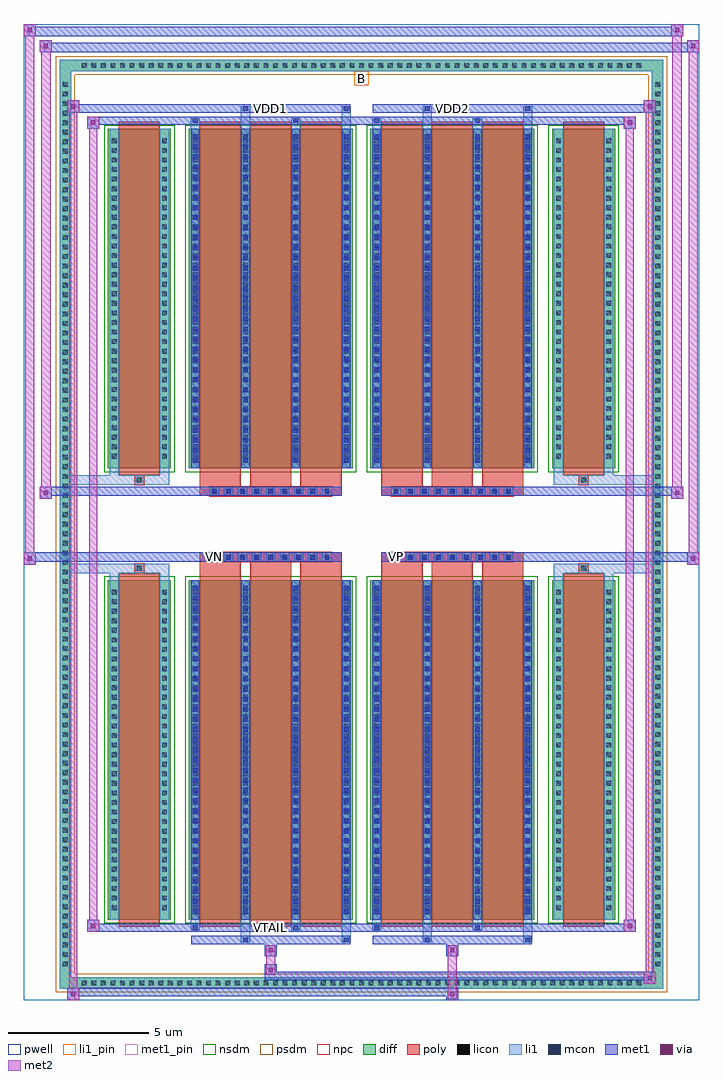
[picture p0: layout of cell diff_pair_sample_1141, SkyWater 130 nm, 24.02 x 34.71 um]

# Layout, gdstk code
import gdstk
lib = gdstk.Library(unit=1e-6, precision=5e-09)
def R(c, l, rs):  # rectangles x0, y0, x1, y1
    for r in rs: c.add(gdstk.rectangle(r[:2], r[2:], *l))
def A(c, l, x, y, w, h, nx, ny, dx, dy):  # array of equal rectangles
    R(c, l, [(x+i*dx, y+j*dy, x+i*dx+w, y+j*dy+h) for i in range(nx) for j in range(ny)])
def P(c, l, *ps):  # polygons
    for p in ps: c.add(gdstk.Polygon(p, *l))
pwell = (64, 44)
diff = (65, 20)
poly = (66, 20)
licon = (66, 44)
li1_pin = (67, 16)
li1 = (67, 20)
mcon = (67, 44)
met1_pin = (68, 16)
met1 = (68, 20)
via = (68, 44)
met2 = (69, 20)
nsdm = (93, 44)
psdm = (94, 20)
npc = (95, 20)

diff_pair_sample_1141 = lib.new_cell('diff_pair_sample_1141')
R(diff_pair_sample_1141, pwell, [(-12.01,-16.92,12.01,17.79), (-9.33,-15.11,-0.01,-0.805), (0.01,-15.11,9.33,-0.805), (-9.33,0.805,-0.01,15.11), (0.01,0.805,9.33,15.11)])
A(diff_pair_sample_1141, diff, -10.065, -16.52, 0.41, 0.41, 59, 2, 0.34, 32.63)
A(diff_pair_sample_1141, diff, -10.74, -15.845, 0.41, 0.41, 1, 93, 0, 0.34)
A(diff_pair_sample_1141, diff, 10.33, -15.845, 0.41, 0.41, 1, 93, 0, 0.34)
R(diff_pair_sample_1141, diff, [(-10.065,-16.52,10.065,-16.11), (-10.74,-15.845,-10.33,15.845), (10.33,-15.845,10.74,15.845), (-9.02,-14.065,-6.78,-1.985), (-6.14,-14.065,-0.32,-1.985), (0.32,-14.065,6.14,-1.985), (6.78,-14.065,9.02,-1.985), (-9.02,1.985,-6.78,14.065), (-6.14,1.985,-0.32,14.065), (0.32,1.985,6.14,14.065), (6.78,1.985,9.02,14.065), (-10.065,16.11,10.065,16.52)])
P(diff_pair_sample_1141, diff, [(10.74,16.52),(-10.74,16.52),(-10.74,-16.11),(-10.33,-16.11),(-10.33,16.11),(10.33,16.11),(10.33,-16.11),(-10.33,-16.11),(-10.74,-16.11),(-10.74,-16.52),(10.74,-16.52)])
A(diff_pair_sample_1141, poly, -5.75, -14.315, 1.46, 12.58, 3, 2, 1.79, 16.05)
A(diff_pair_sample_1141, poly, 0.71, -14.315, 1.46, 12.58, 3, 2, 1.79, 16.05)
A(diff_pair_sample_1141, poly, -5.75, -1.735, 1.46, 0.4, 3, 2, 1.79, 3.07)
A(diff_pair_sample_1141, poly, 0.71, -1.735, 1.46, 0.4, 3, 2, 1.79, 3.07)
A(diff_pair_sample_1141, poly, -5.395, -1.335, 0.33, 0.33, 9, 2, 0.5, 2.34)
A(diff_pair_sample_1141, poly, 1.065, -1.335, 0.33, 0.33, 9, 2, 0.5, 2.34)
R(diff_pair_sample_1141, poly, [(-8.63,-14.315,-7.17,-1.735), (7.17,-14.315,8.63,-1.735), (-8.065,-1.735,-7.735,-1.405), (-8.065,-1.735,-7.735,-1.405), (7.735,-1.735,8.065,-1.405), (7.735,-1.735,8.065,-1.405), (-5.75,-1.335,-0.71,-1.005), (0.71,-1.335,5.75,-1.005), (-5.75,1.005,-0.71,1.335), (0.71,1.005,5.75,1.335), (-8.065,1.405,-7.735,1.735), (-8.065,1.405,-7.735,1.735), (7.735,1.405,8.065,1.735), (7.735,1.405,8.065,1.735), (-8.63,1.735,-7.17,14.315), (7.17,1.735,8.63,14.315)])
A(diff_pair_sample_1141, licon, -9.945, -16.4, 0.17, 0.17, 59, 2, 0.34, 32.63)
A(diff_pair_sample_1141, licon, -10.62, -15.725, 0.17, 0.17, 1, 93, 0, 0.34)
A(diff_pair_sample_1141, licon, 10.45, -15.725, 0.17, 0.17, 1, 93, 0, 0.34)
A(diff_pair_sample_1141, licon, -8.88, -13.72, 0.17, 0.17, 1, 34, 0, 0.34)
A(diff_pair_sample_1141, licon, -7.09, -13.72, 0.17, 0.17, 1, 34, 0, 0.34)
A(diff_pair_sample_1141, licon, -6, -13.72, 0.17, 0.17, 4, 34, 1.79, 0.34)
A(diff_pair_sample_1141, licon, 0.46, -13.72, 0.17, 0.17, 4, 34, 1.79, 0.34)
A(diff_pair_sample_1141, licon, 6.92, -13.72, 0.17, 0.17, 1, 34, 0, 0.34)
A(diff_pair_sample_1141, licon, 8.71, -13.72, 0.17, 0.17, 1, 34, 0, 0.34)
A(diff_pair_sample_1141, licon, -5.315, -1.255, 0.17, 0.17, 9, 2, 0.5, 2.34)
A(diff_pair_sample_1141, licon, 1.145, -1.255, 0.17, 0.17, 9, 2, 0.5, 2.34)
A(diff_pair_sample_1141, licon, -8.88, 2.33, 0.17, 0.17, 1, 34, 0, 0.34)
A(diff_pair_sample_1141, licon, -7.09, 2.33, 0.17, 0.17, 1, 34, 0, 0.34)
A(diff_pair_sample_1141, licon, -6, 2.33, 0.17, 0.17, 4, 34, 1.79, 0.34)
A(diff_pair_sample_1141, licon, 0.46, 2.33, 0.17, 0.17, 4, 34, 1.79, 0.34)
A(diff_pair_sample_1141, licon, 6.92, 2.33, 0.17, 0.17, 1, 34, 0, 0.34)
A(diff_pair_sample_1141, licon, 8.71, 2.33, 0.17, 0.17, 1, 34, 0, 0.34)
R(diff_pair_sample_1141, licon, [(-7.985,-1.655,-7.815,-1.485), (7.815,-1.655,7.985,-1.485), (-7.985,1.485,-7.815,1.655), (7.815,1.485,7.985,1.655)])
R(diff_pair_sample_1141, li1_pin, [(-0.25,15.61,0.25,16.11)])
A(diff_pair_sample_1141, li1, -10.025, -16.48, 0.33, 0.33, 59, 2, 0.34, 32.63)
A(diff_pair_sample_1141, li1, -10.7, -15.805, 0.33, 0.33, 1, 93, 0, 0.34)
A(diff_pair_sample_1141, li1, 10.37, -15.805, 0.33, 0.33, 1, 93, 0, 0.34)
A(diff_pair_sample_1141, li1, -6.08, -14.065, 0.33, 12.08, 4, 2, 1.79, 16.05)
A(diff_pair_sample_1141, li1, 0.38, -14.065, 0.33, 12.08, 4, 2, 1.79, 16.05)
A(diff_pair_sample_1141, li1, -6, -13.87, 0.17, 0.17, 4, 33, 1.79, 0.36)
A(diff_pair_sample_1141, li1, -6, -13.87, 0.17, 11.69, 4, 2, 1.79, 16.05)
A(diff_pair_sample_1141, li1, 0.46, -13.87, 0.17, 0.17, 4, 33, 1.79, 0.36)
A(diff_pair_sample_1141, li1, 0.46, -13.87, 0.17, 11.69, 4, 2, 1.79, 16.05)
A(diff_pair_sample_1141, li1, -8.96, -13.8, 0.33, 0.33, 1, 34, 0, 0.34)
A(diff_pair_sample_1141, li1, -7.17, -13.8, 0.33, 0.33, 1, 34, 0, 0.34)
A(diff_pair_sample_1141, li1, -6.08, -13.8, 0.33, 0.33, 4, 34, 1.79, 0.34)
A(diff_pair_sample_1141, li1, 0.38, -13.8, 0.33, 0.33, 4, 34, 1.79, 0.34)
A(diff_pair_sample_1141, li1, 6.84, -13.8, 0.33, 0.33, 1, 34, 0, 0.34)
A(diff_pair_sample_1141, li1, 8.63, -13.8, 0.33, 0.33, 1, 34, 0, 0.34)
A(diff_pair_sample_1141, li1, -5.395, -1.335, 0.33, 0.33, 9, 2, 0.5, 2.34)
A(diff_pair_sample_1141, li1, 1.065, -1.335, 0.33, 0.33, 9, 2, 0.5, 2.34)
A(diff_pair_sample_1141, li1, -6, 2.18, 0.17, 0.17, 4, 33, 1.79, 0.36)
A(diff_pair_sample_1141, li1, 0.46, 2.18, 0.17, 0.17, 4, 33, 1.79, 0.36)
A(diff_pair_sample_1141, li1, -8.96, 2.25, 0.33, 0.33, 1, 34, 0, 0.34)
A(diff_pair_sample_1141, li1, -7.17, 2.25, 0.33, 0.33, 1, 34, 0, 0.34)
A(diff_pair_sample_1141, li1, -6.08, 2.25, 0.33, 0.33, 4, 34, 1.79, 0.34)
A(diff_pair_sample_1141, li1, 0.38, 2.25, 0.33, 0.33, 4, 34, 1.79, 0.34)
A(diff_pair_sample_1141, li1, 6.84, 2.25, 0.33, 0.33, 1, 34, 0, 0.34)
A(diff_pair_sample_1141, li1, 8.63, 2.25, 0.33, 0.33, 1, 34, 0, 0.34)
R(diff_pair_sample_1141, li1, [(-10.74,-16.52,-10.33,-16.11), (-10.74,-16.52,-10.33,-16.11), (-10.33,-16.52,10.33,-16.11), (10.33,-16.52,10.74,-16.11), (10.33,-16.52,10.74,-16.11), (-10.74,-16.11,-10.33,16.11), (10.33,-16.11,10.74,16.11), (-4.29,-14.87,-3.96,-14.065), (-4.21,-14.87,-4.04,-14.7), (-0.71,-14.87,-0.38,-14.065), (-0.63,-14.87,-0.46,-14.7), (2.17,-14.87,2.5,-14.065), (2.25,-14.87,2.42,-14.7), (5.75,-14.87,6.08,-14.065), (5.83,-14.87,6,-14.7), (-6.08,-14.44,-5.75,-14.065), (-6,-14.44,-5.83,-14.27), (-2.5,-14.44,-2.17,-14.065), (-2.42,-14.44,-2.25,-14.27), (0.38,-14.44,0.71,-14.065), (0.46,-14.44,0.63,-14.27), (3.96,-14.44,4.29,-14.065), (4.04,-14.44,4.21,-14.27), (-8.96,-14.065,-8.63,-1.985), (-7.17,-14.065,-6.84,-1.985), (6.84,-14.065,7.17,-1.985), (8.63,-14.065,8.96,-1.985), (-8.96,-1.985,-8.63,-1.405), (-7.17,-1.985,-6.84,-1.405), (6.84,-1.985,7.17,-1.405), (8.63,-1.985,8.96,-1.405), (-10.74,-1.735,-8.065,-1.405), (-8.96,-1.735,-8.065,-1.405), (-8.065,-1.735,-7.735,-1.405), (-7.735,-1.735,-6.84,-1.405), (6.84,-1.735,7.735,-1.405), (7.735,-1.735,8.065,-1.405), (7.735,-1.735,10.74,-1.405), (8.065,-1.735,8.96,-1.405), (-10.74,1.405,-8.065,1.735), (-8.96,1.405,-8.065,1.735), (-8.96,1.405,-8.63,1.985), (-8.065,1.405,-7.735,1.735), (-7.735,1.405,-6.84,1.735), (-7.17,1.405,-6.84,1.985), (6.84,1.405,7.735,1.735), (6.84,1.405,7.17,1.985), (7.735,1.405,8.065,1.735), (7.735,1.405,10.74,1.735), (8.065,1.405,8.96,1.735), (8.63,1.405,8.96,1.985), (-8.96,1.985,-8.63,14.065), (-7.17,1.985,-6.84,14.065), (6.84,1.985,7.17,14.065), (8.63,1.985,8.96,14.065), (-6.08,14.065,-5.75,14.44), (-4.29,14.065,-3.96,14.87), (-2.5,14.065,-2.17,14.44), (-0.71,14.065,-0.38,14.87), (0.38,14.065,0.71,14.44), (2.17,14.065,2.5,14.87), (3.96,14.065,4.29,14.44), (5.75,14.065,6.08,14.87), (-6,14.27,-5.83,14.44), (-2.42,14.27,-2.25,14.44), (0.46,14.27,0.63,14.44), (4.04,14.27,4.21,14.44), (-4.21,14.7,-4.04,14.87), (-0.63,14.7,-0.46,14.87), (2.25,14.7,2.42,14.87), (5.83,14.7,6,14.87), (-10.74,16.11,-10.33,16.52), (-10.74,16.11,-10.33,16.52), (-10.33,16.11,10.33,16.52), (10.33,16.11,10.74,16.52), (10.33,16.11,10.74,16.52)])
A(diff_pair_sample_1141, mcon, -6, -13.87, 0.17, 0.17, 4, 33, 1.79, 0.36)
A(diff_pair_sample_1141, mcon, 0.46, -13.87, 0.17, 0.17, 4, 33, 1.79, 0.36)
A(diff_pair_sample_1141, mcon, -5.315, -1.255, 0.17, 0.17, 9, 2, 0.5, 2.34)
A(diff_pair_sample_1141, mcon, 1.145, -1.255, 0.17, 0.17, 9, 2, 0.5, 2.34)
A(diff_pair_sample_1141, mcon, -6, 2.18, 0.17, 0.17, 4, 33, 1.79, 0.36)
A(diff_pair_sample_1141, mcon, 0.46, 2.18, 0.17, 0.17, 4, 33, 1.79, 0.36)
R(diff_pair_sample_1141, mcon, [(-4.21,-14.87,-4.04,-14.7), (-0.63,-14.87,-0.46,-14.7), (2.25,-14.87,2.42,-14.7), (5.83,-14.87,6,-14.7), (-6,-14.44,-5.83,-14.27), (-2.42,-14.44,-2.25,-14.27), (0.46,-14.44,0.63,-14.27), (4.04,-14.44,4.21,-14.27), (-6,14.27,-5.83,14.44), (-2.42,14.27,-2.25,14.44), (0.46,14.27,0.63,14.44), (4.04,14.27,4.21,14.44), (-4.21,14.7,-4.04,14.87), (-0.63,14.7,-0.46,14.87), (2.25,14.7,2.42,14.87), (5.83,14.7,6,14.87)])
R(diff_pair_sample_1141, met1_pin, [(-3.365,-14.48,-3.095,-14.21), (-5.365,-1.295,-5.095,-1.025), (1.095,-1.295,1.365,-1.025), (-3.365,14.66,-3.095,14.93), (3.095,14.66,3.365,14.93)])
A(diff_pair_sample_1141, met1, -6.06, -14.065, 0.29, 12.08, 4, 2, 1.79, 16.05)
A(diff_pair_sample_1141, met1, 0.4, -14.065, 0.29, 12.08, 4, 2, 1.79, 16.05)
A(diff_pair_sample_1141, met1, -6.06, -13.93, 0.29, 0.29, 4, 33, 1.79, 0.36)
A(diff_pair_sample_1141, met1, 0.4, -13.93, 0.29, 0.29, 4, 33, 1.79, 0.36)
A(diff_pair_sample_1141, met1, -5.375, -1.315, 0.29, 0.29, 9, 2, 0.5, 2.34)
A(diff_pair_sample_1141, met1, 1.085, -1.315, 0.29, 0.29, 9, 2, 0.5, 2.34)
A(diff_pair_sample_1141, met1, -6.06, 2.12, 0.29, 0.29, 4, 33, 1.79, 0.36)
A(diff_pair_sample_1141, met1, 0.4, 2.12, 0.29, 0.29, 4, 33, 1.79, 0.36)
R(diff_pair_sample_1141, met1, [(-10.47,-16.92,-10.04,-16.49), (3.015,-16.92,3.445,-16.49), (-10.47,-16.78,3.445,-16.49), (10.04,-16.35,10.47,-15.92), (-3.445,-16.21,10.47,-15.92), (-3.445,-16.07,-3.015,-15.64), (-3.445,-15.36,-3.015,-14.93), (3.015,-15.36,3.445,-14.93), (-6.06,-14.93,-0.4,-14.64), (-4.27,-14.93,-3.98,-14.64), (-0.69,-14.93,-0.4,-14.64), (0.4,-14.93,6.06,-14.64), (2.19,-14.93,2.48,-14.64), (5.77,-14.93,6.06,-14.64), (-9.76,-14.5,-9.33,-14.07), (-9.76,-14.5,-6.06,-14.21), (-6.06,-14.5,-5.77,-14.21), (-6.06,-14.5,-0.4,-14.21), (-2.48,-14.5,-2.19,-14.21), (-0.4,-14.5,0.4,-14.21), (0.4,-14.5,0.69,-14.21), (0.4,-14.5,6.06,-14.21), (3.98,-14.5,4.27,-14.21), (6.06,-14.5,9.76,-14.21), (9.33,-14.5,9.76,-14.07), (-12.01,-1.435,-11.58,-1.005), (11.58,-1.435,12.01,-1.005), (-12.01,-1.335,-0.71,-1.005), (-5.75,-1.335,-0.71,-1.005), (0.71,-1.335,5.75,-1.005), (0.71,-1.335,12.01,-1.005), (-11.44,0.905,-11.01,1.335), (11.01,0.905,11.44,1.335), (-11.44,1.005,-5.75,1.335), (-5.75,1.005,-0.71,1.335), (0.71,1.005,5.75,1.335), (5.75,1.005,11.44,1.335), (-9.76,14.07,-9.33,14.5), (9.33,14.07,9.76,14.5), (-9.76,14.21,-6.06,14.5), (-6.06,14.21,-5.77,14.5), (-6.06,14.21,-0.4,14.5), (-2.48,14.21,-2.19,14.5), (-0.4,14.21,0.4,14.5), (0.4,14.21,0.69,14.5), (0.4,14.21,6.06,14.5), (3.98,14.21,4.27,14.5), (6.06,14.21,9.76,14.5), (-10.47,14.64,-10.04,15.07), (-10.47,14.64,-6.06,14.93), (-6.06,14.64,-0.4,14.93), (-4.27,14.64,-3.98,14.93), (-0.69,14.64,-0.4,14.93), (0.4,14.64,6.06,14.93), (2.19,14.64,2.48,14.93), (5.77,14.64,6.06,14.93), (6.06,14.64,10.47,14.93), (10.04,14.64,10.47,15.07), (-11.44,16.79,-11.01,17.22), (-11.44,16.79,-9.33,17.12), (-9.33,16.79,9.33,17.12), (9.33,16.79,12.01,17.12), (11.58,16.79,12.01,17.22), (-12.01,17.36,-11.58,17.79), (-12.01,17.36,-9.33,17.69), (-9.33,17.36,9.33,17.69), (9.33,17.36,11.44,17.69), (11.01,17.36,11.44,17.79)])
R(diff_pair_sample_1141, via, [(-10.33,-16.78,-10.18,-16.63), (3.155,-16.78,3.305,-16.63), (10.18,-16.21,10.33,-16.06), (-3.305,-15.93,-3.155,-15.78), (-3.305,-15.22,-3.155,-15.07), (3.155,-15.22,3.305,-15.07), (-9.62,-14.36,-9.47,-14.21), (9.47,-14.36,9.62,-14.21), (-11.87,-1.295,-11.72,-1.145), (11.72,-1.295,11.87,-1.145), (-11.3,1.045,-11.15,1.195), (11.15,1.045,11.3,1.195), (-9.62,14.21,-9.47,14.36), (9.47,14.21,9.62,14.36), (-10.33,14.78,-10.18,14.93), (10.18,14.78,10.33,14.93), (-11.3,16.93,-11.15,17.08), (11.72,16.93,11.87,17.08), (-11.87,17.5,-11.72,17.65), (11.15,17.5,11.3,17.65)])
R(diff_pair_sample_1141, met2, [(-10.47,-16.92,-10.04,-16.49), (-10.4,-16.92,-10.11,15.07), (-10.11,-16.92,-10.04,-16.49), (-10.42,-16.87,-10.09,-16.54), (3.065,-16.87,3.395,-16.54), (3.065,-16.54,3.395,-15.31), (10.04,-16.35,10.47,-15.92), (10.11,-16.35,10.4,15.07), (10.4,-16.35,10.47,-15.92), (10.09,-16.3,10.42,-15.97), (-3.395,-16.02,-3.065,-15.69), (-3.395,-15.69,-3.065,-15.31), (-3.395,-15.31,-3.065,-14.98), (3.065,-15.31,3.395,-14.98), (-9.76,-14.5,-9.33,-14.07), (-9.69,-14.5,-9.4,14.5), (-9.4,-14.5,-9.33,-14.07), (9.33,-14.5,9.76,-14.07), (9.4,-14.5,9.69,14.5), (9.69,-14.5,9.76,-14.07), (-9.71,-14.45,-9.38,-14.12), (9.38,-14.45,9.71,-14.12), (-12.01,-1.435,-11.58,-1.005), (-11.96,-1.435,-11.63,17.79), (-11.63,-1.435,-11.58,-1.005), (11.58,-1.435,12.01,-1.005), (11.63,-1.435,11.96,17.22), (11.96,-1.435,12.01,-1.005), (-11.96,-1.385,-11.63,-1.055), (11.63,-1.385,11.96,-1.055), (-11.44,0.905,-11.01,1.335), (-11.39,0.905,-11.06,17.22), (-11.06,0.905,-11.01,1.335), (11.01,0.905,11.44,1.335), (11.06,0.905,11.39,17.79), (11.39,0.905,11.44,1.335), (-11.39,0.955,-11.06,1.285), (11.06,0.955,11.39,1.285), (-9.76,14.07,-9.33,14.5), (-9.4,14.07,-9.33,14.5), (9.33,14.07,9.76,14.5), (9.69,14.07,9.76,14.5), (-9.71,14.12,-9.38,14.45), (9.38,14.12,9.71,14.45), (-10.47,14.64,-10.04,15.07), (-10.11,14.64,-10.04,15.07), (10.04,14.64,10.47,15.07), (10.4,14.64,10.47,15.07), (-10.42,14.69,-10.09,15.02), (10.09,14.69,10.42,15.02), (-11.44,16.79,-11.01,17.22), (-11.06,16.79,-11.01,17.22), (11.58,16.79,12.01,17.22), (11.96,16.79,12.01,17.22), (-11.39,16.84,-11.06,17.17), (11.63,16.84,11.96,17.17), (-12.01,17.36,-11.58,17.79), (-11.63,17.36,-11.58,17.79), (11.01,17.36,11.44,17.79), (11.39,17.36,11.44,17.79), (-11.96,17.41,-11.63,17.74), (11.06,17.41,11.39,17.74)])
R(diff_pair_sample_1141, nsdm, [(-9.15,-14.195,-6.65,-1.855), (-6.27,-14.195,-0.19,-1.855), (0.19,-14.195,6.27,-1.855), (6.65,-14.195,9.15,-1.855), (-9.15,1.855,-6.65,14.195), (-6.27,1.855,-0.19,14.195), (0.19,1.855,6.27,14.195), (6.65,1.855,9.15,14.195)])
P(diff_pair_sample_1141, psdm, [(10.87,16.65),(-10.87,16.65),(-10.87,-15.98),(-10.2,-15.98),(-10.2,15.98),(10.2,15.98),(10.2,-15.98),(-10.2,-15.98),(-10.87,-15.98),(-10.87,-16.65),(10.87,-16.65)])
A(diff_pair_sample_1141, npc, -5.415, -1.355, 0.37, 0.37, 9, 2, 0.5, 2.34)
A(diff_pair_sample_1141, npc, 1.045, -1.355, 0.37, 0.37, 9, 2, 0.5, 2.34)
R(diff_pair_sample_1141, npc, [(-8.085,-1.755,-7.715,-1.385), (7.715,-1.755,8.085,-1.385), (-5.415,-1.355,-4.545,-0.985), (-5.415,-1.355,-4.545,-0.985), (-4.915,-1.355,-4.045,-0.985), (-4.915,-1.355,-4.045,-0.985), (-4.415,-1.355,-3.545,-0.985), (-4.415,-1.355,-3.545,-0.985), (-3.915,-1.355,-3.045,-0.985), (-3.915,-1.355,-3.045,-0.985), (-3.415,-1.355,-2.545,-0.985), (-3.415,-1.355,-2.545,-0.985), (-2.915,-1.355,-2.045,-0.985), (-2.915,-1.355,-2.045,-0.985), (-2.415,-1.355,-1.545,-0.985), (-2.415,-1.355,-1.545,-0.985), (-1.915,-1.355,-1.045,-0.985), (-1.915,-1.355,-1.045,-0.985), (1.045,-1.355,1.915,-0.985), (1.045,-1.355,1.915,-0.985), (1.545,-1.355,2.415,-0.985), (1.545,-1.355,2.415,-0.985), (2.045,-1.355,2.915,-0.985), (2.045,-1.355,2.915,-0.985), (2.545,-1.355,3.415,-0.985), (2.545,-1.355,3.415,-0.985), (3.045,-1.355,3.915,-0.985), (3.045,-1.355,3.915,-0.985), (3.545,-1.355,4.415,-0.985), (3.545,-1.355,4.415,-0.985), (4.045,-1.355,4.915,-0.985), (4.045,-1.355,4.915,-0.985), (4.545,-1.355,5.415,-0.985), (4.545,-1.355,5.415,-0.985), (-5.415,0.985,-4.545,1.355), (-5.415,0.985,-4.545,1.355), (-4.915,0.985,-4.045,1.355), (-4.915,0.985,-4.045,1.355), (-4.415,0.985,-3.545,1.355), (-4.415,0.985,-3.545,1.355), (-3.915,0.985,-3.045,1.355), (-3.915,0.985,-3.045,1.355), (-3.415,0.985,-2.545,1.355), (-3.415,0.985,-2.545,1.355), (-2.915,0.985,-2.045,1.355), (-2.915,0.985,-2.045,1.355), (-2.415,0.985,-1.545,1.355), (-2.415,0.985,-1.545,1.355), (-1.915,0.985,-1.045,1.355), (-1.915,0.985,-1.045,1.355), (1.045,0.985,1.915,1.355), (1.045,0.985,1.915,1.355), (1.545,0.985,2.415,1.355), (1.545,0.985,2.415,1.355), (2.045,0.985,2.915,1.355), (2.045,0.985,2.915,1.355), (2.545,0.985,3.415,1.355), (2.545,0.985,3.415,1.355), (3.045,0.985,3.915,1.355), (3.045,0.985,3.915,1.355), (3.545,0.985,4.415,1.355), (3.545,0.985,4.415,1.355), (4.045,0.985,4.915,1.355), (4.045,0.985,4.915,1.355), (4.545,0.985,5.415,1.355), (4.545,0.985,5.415,1.355), (-8.085,1.385,-7.715,1.755), (7.715,1.385,8.085,1.755)])
diff_pair_sample_1141.add(gdstk.Label('VTAIL', (-3.23,-14.345), layer=68, texttype=5))
diff_pair_sample_1141.add(gdstk.Label('VN', (-5.23,-1.16), layer=68, texttype=5))
diff_pair_sample_1141.add(gdstk.Label('VP', (1.23,-1.16), layer=68, texttype=5))
diff_pair_sample_1141.add(gdstk.Label('B', (0,15.86), layer=67, texttype=5))
diff_pair_sample_1141.add(gdstk.Label('VDD2', (3.23,14.795), layer=68, texttype=5))
diff_pair_sample_1141.add(gdstk.Label('VDD1', (-3.23,14.795), layer=68, texttype=5))

lib.write_gds('diff_pair_sample_1141.gds')
